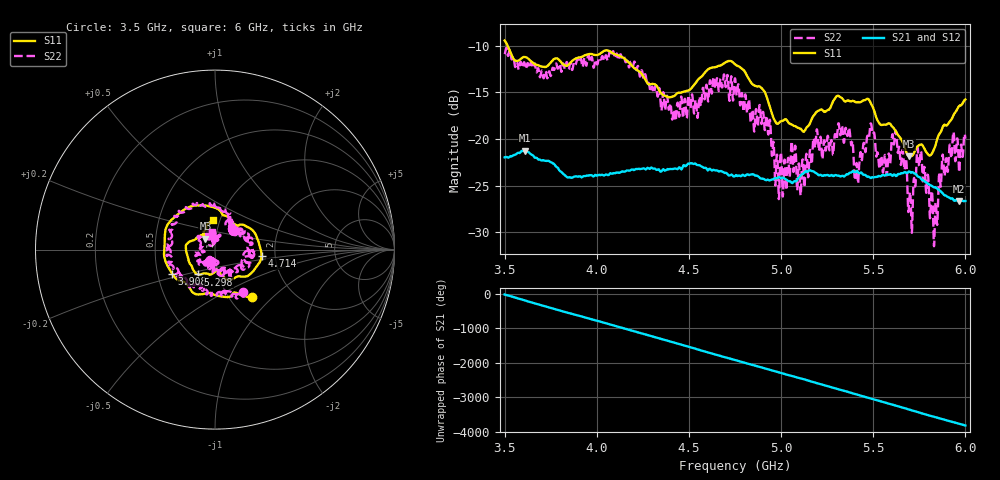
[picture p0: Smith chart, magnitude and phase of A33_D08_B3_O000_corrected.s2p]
! Created with skrf 1.9.0 (http://scikit-rf.org).
# Hz S RI R 50.0
!freq ReS11 ImS11 ReS21 ImS21 ReS12 ImS12 ReS22 ImS22
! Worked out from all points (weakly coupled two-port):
!   1601 points, 3.5 GHz to 6 GHz, reference 50 ohm
!   highest |S21| = -21.25 dB at 3.609 GHz (marker M1); lowest = -26.7 dB at 5.966 GHz (marker M2)
!   lowest |S11| = -21.9 dB at 5.695 GHz (marker M3), VSWR 1.18, Z = 44.6 + j5.44 ohm
!   |S11| at or under -10 dB: 3.516 GHz to end of sweep
!   |S22| runs from -31.5 to -10.2 dB; largest |S21 - S12| = 0.0011
!   S11 on the Smith chart (normalised r, x): 3.5 GHz: 1.27, -0.76; 3.908 GHz: 0.60, -0.17; 4.714 GHz: 1.69, -0.13; 5.298 GHz: 0.80, -0.23; 6 GHz: 0.93, +0.31
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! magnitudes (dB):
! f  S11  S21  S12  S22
! 3.5 GHz  -9.4  -22.0  -21.9  -10.9
! 3.609 GHz  -11.2  -21.2  -21.3  -11.9
! 3.908 GHz  -11.2  -24.0  -24.0  -11.6
! 3.917 GHz  -11.2  -24.1  -24.1  -11.7
! 4.334 GHz  -14.6  -23.3  -23.2  -15.1
! 4.714 GHz  -11.7  -23.9  -23.9  -14.3
! 4.75 GHz  -12.0  -24.0  -23.9  -13.5
! 4.931 GHz  -16.1  -24.4  -24.3  -19.5
! 4.98 GHz  -18.4  -24.2  -24.2  -21.9
! 5.167 GHz  -17.8  -23.4  -23.4  -22.6
! 5.298 GHz  -15.5  -23.9  -23.8  -19.9
! 5.362 GHz  -15.9  -23.8  -23.8  -19.5
! 5.409 GHz  -16.1  -23.4  -23.4  -22.6
! 5.492 GHz  -16.4  -24.1  -24.1  -18.9
! 5.584 GHz  -18.3  -23.8  -23.8  -21.5
! 5.616 GHz  -19.0  -23.8  -23.8  -20.0
! 5.695 GHz  -21.9  -23.5  -23.4  -26.7
! 5.75 GHz  -20.6  -24.1  -24.1  -22.9
! 5.838 GHz  -20.7  -25.2  -25.1  -26.8
! 5.869 GHz  -19.1  -25.7  -25.6  -24.6
! 5.966 GHz  -16.5  -26.7  -26.7  -23.5
! 6 GHz  -15.8  -26.6  -26.6  -20.0
